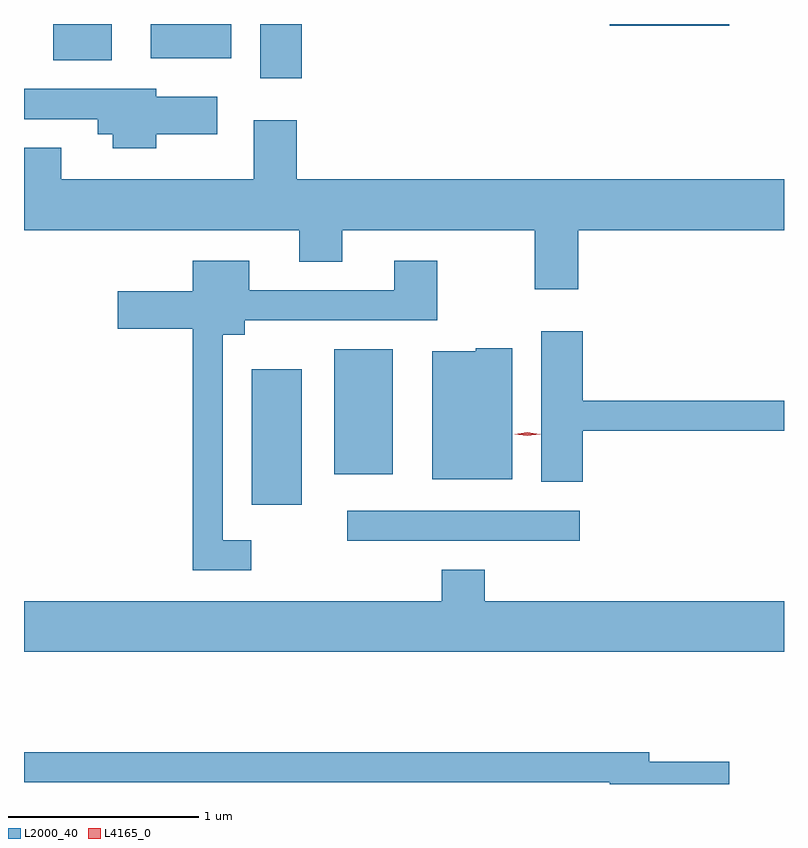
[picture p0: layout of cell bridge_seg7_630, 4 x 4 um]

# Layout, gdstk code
import gdstk
lib = gdstk.Library(unit=1e-6, precision=1e-09)
def R(c, l, rs):  # rectangles x0, y0, x1, y1
    for r in rs: c.add(gdstk.rectangle(r[:2], r[2:], *l))
def P(c, l, *ps):  # polygons
    for p in ps: c.add(gdstk.Polygon(p, *l))
L2000_40 = (2000, 40)
L4165_0 = (4165, 0)

bridge_seg7_630 = lib.new_cell('bridge_seg7_630')
R(bridge_seg7_630, L2000_40, [(650.113,1694.921,651.338,1695.079), (649.611,1695.111,649.874,1695.824), (650.046,1695.271,650.354,1695.929), (649.656,1697.356,649.874,1697.641), (648.566,1697.451,648.874,1697.641), (649.081,1697.461,649.504,1697.641), (651.496,1697.631,652.124,1697.641)])
P(bridge_seg7_630, L2000_40, [(649.109,1697.061),(649.429,1697.061),(649.429,1697.259),(649.109,1697.259),(649.109,1697.299),(648.413,1697.299),(648.413,1697.141),(648.801,1697.141),(648.801,1697.061),(648.881,1697.061),(648.881,1696.986),(649.109,1696.986)],
  [(651.329,1696.556),(652.413,1696.556),(652.413,1696.824),(649.849,1696.824),(649.849,1697.134),(649.621,1697.134),(649.621,1696.824),(648.609,1696.824),(648.609,1696.989),(648.413,1696.989),(648.413,1696.556),(649.861,1696.556),(649.861,1696.391),(650.089,1696.391),(650.089,1696.556),(651.101,1696.556),(651.101,1696.246),(651.329,1696.246)],
  [(649.608,1694.924),(649.459,1694.924),(649.459,1696.006),(649.574,1696.006),(649.574,1696.081),(650.589,1696.081),(650.589,1696.394),(650.361,1696.394),(650.361,1696.239),(649.599,1696.239),(649.599,1696.394),(649.301,1696.394),(649.301,1696.234),(648.906,1696.234),(648.906,1696.036),(649.301,1696.036),(649.301,1694.766),(649.608,1694.766)],
  [(651.354,1695.501),(652.413,1695.501),(652.413,1695.659),(651.354,1695.659),(651.354,1696.024),(651.136,1696.024),(651.136,1695.231),(651.354,1695.231)],
  [(650.984,1695.934),(650.79,1695.934),(650.79,1695.919),(650.561,1695.919),(650.561,1695.246),(650.984,1695.246)],
  [(652.413,1694.604),(650.839,1694.604),(650.839,1694.769),(650.611,1694.769),(650.611,1694.604),(648.413,1694.604),(648.413,1694.336),(652.413,1694.336)],
  [(652.124,1693.759),(651.704,1693.759),(651.704,1693.809),(648.413,1693.809),(648.413,1693.651),(651.496,1693.651),(651.496,1693.641),(652.124,1693.641)])
P(bridge_seg7_630, L4165_0, [(651.062,1695.473),(650.996,1695.482),(650.995,1695.483),(650.996,1695.483),(651.062,1695.493),(651.128,1695.483),(651.129,1695.483),(651.128,1695.482)])

lib.write_gds('bridge_seg7_630.gds')
